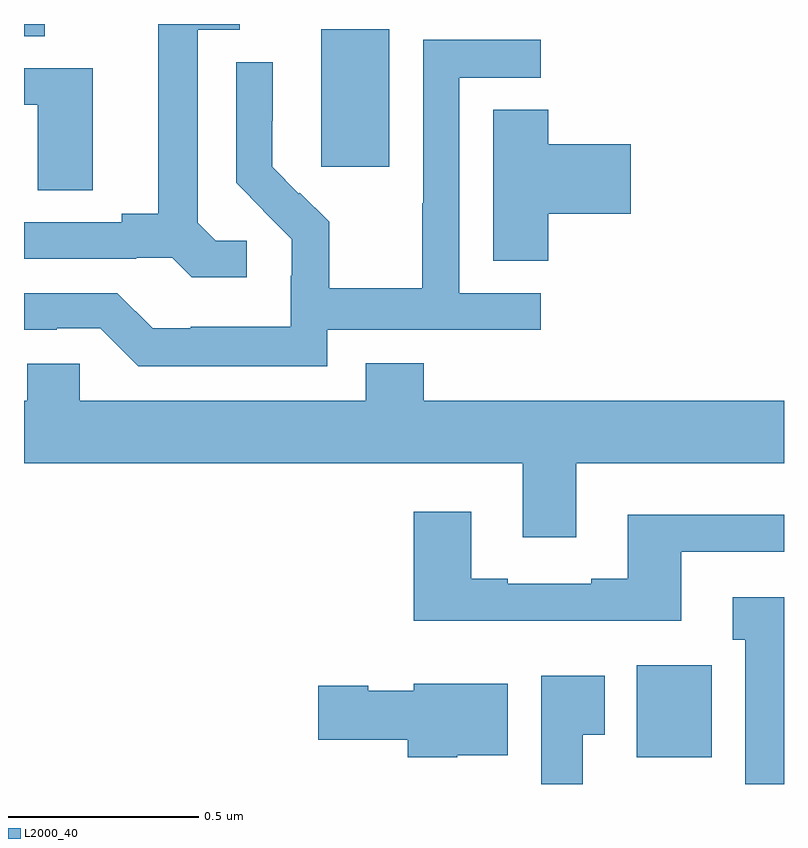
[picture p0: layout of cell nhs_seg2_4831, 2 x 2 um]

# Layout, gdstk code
import gdstk
lib = gdstk.Library(unit=1e-6, precision=1e-09)
def R(c, l, rs):  # rectangles x0, y0, x1, y1
    for r in rs: c.add(gdstk.rectangle(r[:2], r[2:], *l))
def P(c, l, *ps):  # polygons
    for p in ps: c.add(gdstk.Polygon(p, *l))
L2000_40 = (2000, 40)

nhs_seg2_4831 = lib.new_cell('nhs_seg2_4831')
R(nhs_seg2_4831, L2000_40, [(172.613,638.87,172.81,639.112), (171.782,640.425,171.961,640.786), (171,640.768,171.055,640.8)])
P(nhs_seg2_4831, L2000_40, [(171.586,640.23),(171.504,640.23),(171.457,640.277),(171.457,640.785),(171.568,640.785),(171.568,640.8),(171.353,640.8),(171.353,640.301),(171.257,640.301),(171.257,640.278),(171,640.278),(171,640.182),(171.296,640.182),(171.296,640.185),(171.39,640.185),(171.442,640.133),(171.586,640.133)],
  [(171.798,639.996),(172.36,639.996),(172.36,640.092),(172.146,640.092),(172.146,640.659),(172.36,640.659),(172.36,640.758),(172.05,640.758),(172.05,640.328),(172.048,640.328),(172.048,640.105),(171.803,640.105),(171.803,640.279),(171.726,640.356),(171.723,640.353),(171.653,640.424),(171.653,640.546),(171.654,640.546),(171.654,640.7),(171.558,640.7),(171.558,640.382),(171.631,640.309),(171.63,640.308),(171.704,640.234),(171.704,640.137),(171.702,640.137),(171.702,640.003),(171.439,640.003),(171.439,639.999),(171.339,639.999),(171.246,640.092),(171,640.092),(171,639.996),(171.086,639.996),(171.086,639.999),(171.201,639.999),(171.301,639.899),(171.798,639.899)],
  [(171.181,640.683),(171,640.683),(171,640.587),(171.036,640.587),(171.036,640.363),(171.181,640.363)],
  [(172.379,640.301),(172.597,640.301),(172.597,640.484),(172.379,640.484),(172.379,640.574),(172.235,640.574),(172.235,640.177),(172.379,640.177)],
  [(172.453,639.644),(173,639.644),(173,639.808),(172.052,639.808),(172.052,639.907),(171.899,639.907),(171.899,639.808),(171.147,639.808),(171.147,639.906),(171.009,639.906),(171.009,639.808),(171,639.808),(171,639.644),(172.313,639.644),(172.313,639.45),(172.453,639.45)],
  [(172.729,639.411),(173,639.411),(173,639.508),(172.589,639.508),(172.589,639.34),(172.493,639.34),(172.493,639.327),(172.273,639.327),(172.273,639.34),(172.177,639.34),(172.177,639.517),(172.025,639.517),(172.025,639.23),(172.729,639.23)],
  [(173,639.292),(172.865,639.292),(172.865,639.179),(172.898,639.179),(172.898,638.8),(173,638.8)],
  [(172.471,638.929),(172.528,638.929),(172.528,639.085),(172.361,639.085),(172.361,638.8),(172.471,638.8)],
  [(172.14,638.876),(172.273,638.876),(172.273,639.064),(172.026,639.064),(172.026,639.046),(171.906,639.046),(171.906,639.059),(171.774,639.059),(171.774,638.917),(172.01,638.917),(172.01,638.87),(172.14,638.87)])

lib.write_gds('nhs_seg2_4831.gds')
